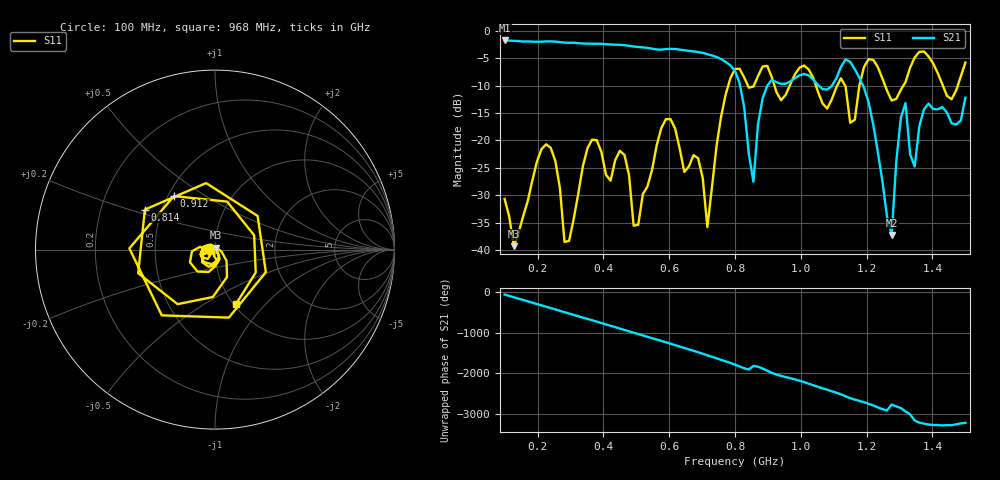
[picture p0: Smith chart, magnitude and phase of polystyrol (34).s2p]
! NanoVNA-App
! Date: 2025-09-26 09:42:09
! Start: 100MHz Stop: 1,5GHz Points: 101
! S-Parameter data: F S11 S21 S12 S22
# Hz S RI R 50
!  Frequency  S11_Real  S11_Imag  S21_Real  S21_Imag  S12_Real  S12_Imag  S22_Real  S22_Imag
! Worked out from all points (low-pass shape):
!   101 points, 100 MHz to 1.5 GHz, reference 50 ohm
!   highest |S21| = -1.79 dB at 100 MHz (marker M1); lowest = -37.2 dB at 1.276 GHz (marker M2)
!   |S21| within 3 dB of the highest: start of sweep to 743.5 MHz
!   lowest |S11| = -39.3 dB at 128 MHz (marker M3), VSWR 1.02, Z = 50.3 + j1.06 ohm
!   |S11| at or under -10 dB: start of sweep to 779.6 MHz; 1.046 GHz to 1.111 GHz (64.9 MHz wide, 6.02 % of centre); 1.256 GHz to 1.312 GHz (55.67 MHz wide, 4.34 % of centre)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
!   S12 and S22 are empty: the file has one direction only
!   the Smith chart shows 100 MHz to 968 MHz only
!   S11 on the Smith chart (normalised r, x): 100 MHz: 0.94, -0.01; 814 MHz: 0.40, +0.22; 912 MHz: 0.54, +0.37; 968 MHz: 1.03, -0.69
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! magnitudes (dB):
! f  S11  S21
! 100 MHz  -30.7  -1.8
! 128 MHz  -39.3  -1.9
! 212 MHz  -21.6  -2.0
! 282 MHz  -38.5  -2.2
! 338 MHz  -24.6  -2.3
! 464 MHz  -22.6  -2.6
! 506 MHz  -35.4  -3.0
! 576 MHz  -17.8  -3.5
! 688 MHz  -23.2  -3.9
! 716 MHz  -35.8  -4.3
! 800 MHz  -7.0  -7.3
! 814 MHz  -6.9  -9.5
! 856 MHz  -10.2  -27.5
! 912 MHz  -8.5  -8.9
! 968 MHz  -9.8  -9.3
! 1.038 GHz  -8.6  -8.9
! 1.178 GHz  -9.9  -8.6
! 1.276 GHz  -12.7  -37.2
! 1.318 GHz  -9.4  -13.2
! 1.346 GHz  -4.9  -24.8
! 1.374 GHz  -3.8  -14.4
! 1.5 GHz  -5.8  -12.2
